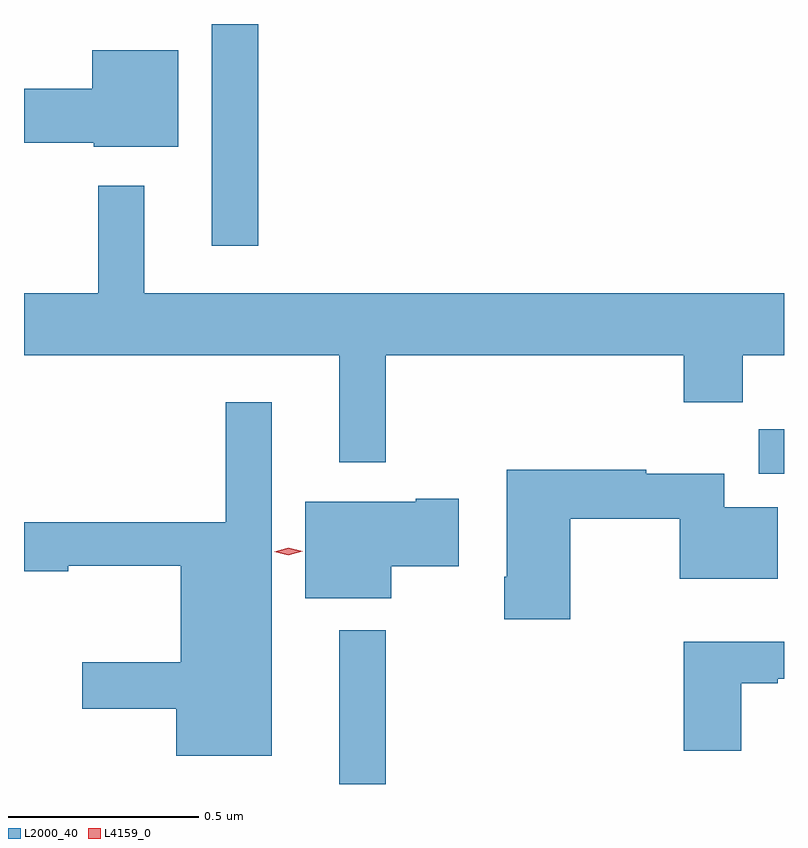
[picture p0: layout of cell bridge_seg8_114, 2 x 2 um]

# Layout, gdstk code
import gdstk
lib = gdstk.Library(unit=1e-6, precision=1e-09)
def R(c, l, rs):  # rectangles x0, y0, x1, y1
    for r in rs: c.add(gdstk.rectangle(r[:2], r[2:], *l))
def P(c, l, *ps):  # polygons
    for p in ps: c.add(gdstk.Polygon(p, *l))
L2000_40 = (2000, 40)
L4159_0 = (4159, 0)

bridge_seg8_114 = lib.new_cell('bridge_seg8_114')
R(bridge_seg8_114, L2000_40, [(674.615,1146.008,674.737,1146.412), (675.718,1146.824,675.785,1146.942), (674.279,1147.425,674.401,1148.008)])
P(bridge_seg8_114, L2000_40, [(674.191,1147.939),(673.964,1147.939),(673.964,1147.838),(673.785,1147.838),(673.785,1147.696),(673.968,1147.696),(673.968,1147.685),(674.191,1147.685)],
  [(674.737,1147.136),(675.521,1147.136),(675.521,1147.012),(675.677,1147.012),(675.677,1147.136),(675.785,1147.136),(675.785,1147.3),(674.101,1147.3),(674.101,1147.582),(673.98,1147.582),(673.98,1147.3),(673.785,1147.3),(673.785,1147.136),(674.615,1147.136),(674.615,1146.855),(674.737,1146.855)],
  [(674.437,1147.012),(674.316,1147.012),(674.316,1146.697),(673.785,1146.697),(673.785,1146.568),(673.902,1146.568),(673.902,1146.583),(674.198,1146.583),(674.198,1146.328),(673.938,1146.328),(673.938,1146.206),(674.186,1146.206),(674.186,1146.083),(674.437,1146.083)],
  [(675.222,1146.706),(675.511,1146.706),(675.511,1146.548),(675.769,1146.548),(675.769,1146.736),(675.628,1146.736),(675.628,1146.824),(675.422,1146.824),(675.422,1146.835),(675.056,1146.835),(675.056,1146.553),(675.049,1146.553),(675.049,1146.441),(675.222,1146.441)],
  [(674.752,1146.581),(674.929,1146.581),(674.929,1146.759),(674.816,1146.759),(674.816,1146.751),(674.525,1146.751),(674.525,1146.497),(674.752,1146.497)],
  [(675.673,1146.273),(675.769,1146.273),(675.769,1146.285),(675.785,1146.285),(675.785,1146.382),(675.521,1146.382),(675.521,1146.096),(675.673,1146.096)])
P(bridge_seg8_114, L4159_0, [(674.481,1146.61),(674.443,1146.619),(674.443,1146.619),(674.443,1146.619),(674.481,1146.63),(674.519,1146.621),(674.519,1146.62),(674.519,1146.62)])

lib.write_gds('bridge_seg8_114.gds')
